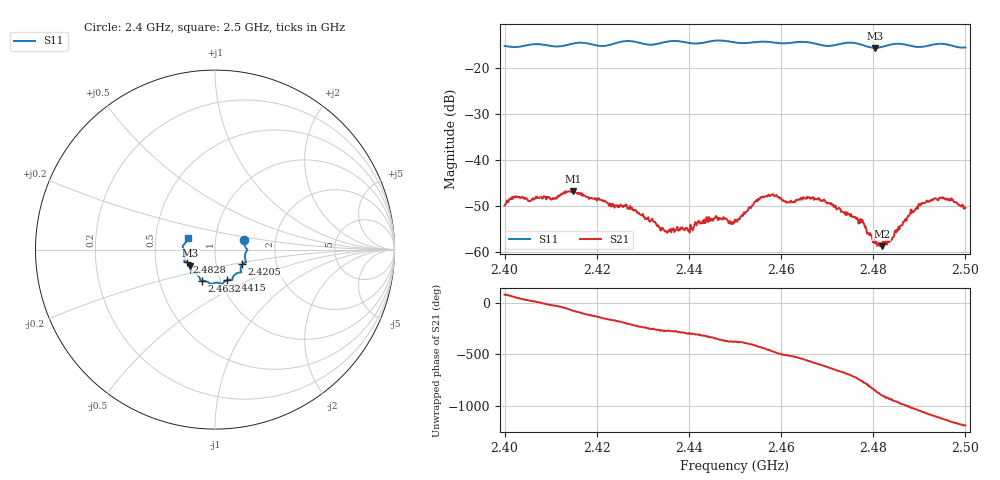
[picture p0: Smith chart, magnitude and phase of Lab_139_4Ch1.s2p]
# Hz S RI R 50
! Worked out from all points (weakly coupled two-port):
!   601 points, 2.4 GHz to 2.5 GHz, reference 50 ohm
!   highest |S21| = -46.81 dB at 2.4148 GHz (marker M1); lowest = -58.8 dB at 2.4818 GHz (marker M2)
!   lowest |S11| = -15.7 dB at 2.4803 GHz (marker M3), VSWR 1.39, Z = 37.4 - j6.82 ohm
!   |S11| at or under -10 dB: start of sweep to end of sweep
!   S12 and S22 are empty: the file has one direction only
!   S11 on the Smith chart (normalised r, x): 2.4 GHz: 1.38, +0.15; 2.4205 GHz: 1.34, -0.23; 2.4415 GHz: 1.07, -0.38; 2.4632 GHz: 0.82, -0.29; 2.4828 GHz: 0.72, -0.10; 2.5 GHz: 0.73, +0.10
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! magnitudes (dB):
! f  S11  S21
! 2.4 GHz  -15.3  -49.9
! 2.4022 GHz  -15.5  -48.0
! 2.4105 GHz  -15.4  -48.3
! 2.4148 GHz  -14.8  -46.8
! 2.4167 GHz  -14.6  -47.7
! 2.4205 GHz  -15.3  -48.5
! 2.4277 GHz  -14.3  -50.5
! 2.4333 GHz  -14.8  -54.2
! 2.4353 GHz  -14.3  -55.9
! 2.4415 GHz  -14.8  -53.9
! 2.45 GHz  -14.5  -53.0
! 2.456 GHz  -14.3  -48.0
! 2.4632 GHz  -14.5  -48.9
! 2.4667 GHz  -14.6  -48.4
! 2.4775 GHz  -15.0  -53.6
! 2.4803 GHz  -15.7  -58.1
! 2.4818 GHz  -15.5  -58.8
! 2.4828 GHz  -15.2  -58.2
! 2.4833 GHz  -15.1  -57.9
! 2.4903 GHz  -15.5  -49.8
! 2.4948 GHz  -14.8  -48.3
! 2.5 GHz  -15.6  -50.5
